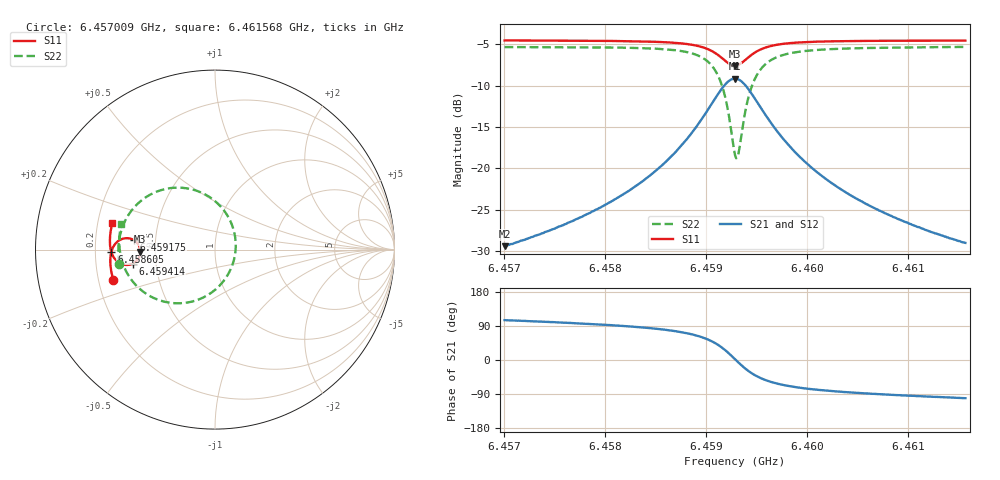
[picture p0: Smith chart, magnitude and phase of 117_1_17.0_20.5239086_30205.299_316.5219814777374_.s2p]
#  HZ  S  RI  R  50.00
! Rohde & Schwarz Vector Network Analyzer
! Rohde-Schwarz,ZNB20-2Port,1311601062101988,3.16
! Created: UTC 3/20/2024, 10:57:16 PM
! freq[Hz]  re:S11  im:S11  re:S21  im:S21  re:S12  im:S12  re:S22  im:S22
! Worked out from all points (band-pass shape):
!   401 points, 6.457009 GHz to 6.461568 GHz, reference 50 ohm
!   highest |S21| = -9.16 dB at 6.459289 GHz (marker M1); lowest = -29.4 dB at 6.457009 GHz (marker M2)
!   |S21| within 3 dB of the highest: 6.45906 GHz to 6.459516 GHz (455.8 kHz wide, 0.00706 % of centre)
!   lowest |S11| = -7.6 dB at 6.459289 GHz (marker M3), VSWR 2.42, Z = 20.6 - j0.55 ohm
!   |S11| at or under -10 dB: nowhere
!   |S22| runs from -18.8 to -5.3 dB; largest |S21 - S12| = 0.014
!   S11 on the Smith chart (normalised r, x): 6.457009 GHz: 0.26, -0.14; 6.458605 GHz: 0.27, -0.01; 6.459175 GHz: 0.38, +0.05; 6.459414 GHz: 0.37, -0.07; 6.461568 GHz: 0.26, +0.12
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6.457009e9  -0.5667 -0.1711  -0.00887 0.0328  -0.00702 0.0327  -0.5338 -0.0814
6.4577727e9  -0.5806 -0.1041  -0.00554 0.0507  -0.0029 0.0502  -0.5384 0.00832
6.4581945e9  -0.5833 -0.0617  0.000439 0.0704  0.00374 0.069  -0.5299 0.0755
6.4585364e9  -0.5796 -0.0205  0.0146 0.0995  0.0186 0.0967  -0.5039 0.1533
6.4586048e9  -0.5773 -0.0109  0.0199 0.108  0.0241 0.1047  -0.4939 0.1734
6.4587986e9  -0.5645 0.0195  0.0466 0.1392  0.0509 0.1342  -0.4437 0.2426
6.4589467e9  -0.5417 0.0459  0.0926 0.1699  0.0956 0.1632  -0.3594 0.3071
6.4590835e9  -0.4972 0.0635  0.1804 0.1862  0.1814 0.179  -0.1988 0.3451
6.4591747e9  -0.4521 0.053  0.2712 0.1546  0.2715 0.1488  -0.0311 0.2935
6.4592431e9  -0.4227 0.0205  0.3321 0.0817  0.3342 0.0764  0.0842 0.1621
6.4592887e9  -0.4158 -0.011  0.3481 0.0131  0.352 0.00619  0.1156 0.0339
6.4593001e9  -0.4164 -0.0193  0.3479 -0.00493  0.3519 -0.0125  0.1151 -7.38e-06
6.4593229e9  -0.4199 -0.035  0.342 -0.0398  0.346 -0.0488  0.1033 -0.0661
6.4593685e9  -0.4357 -0.0614  0.313 -0.0999  0.3153 -0.112  0.0445 -0.1795
6.4594141e9  -0.4581 -0.0779  0.2704 -0.1412  0.2697 -0.1545  -0.0418 -0.254
6.4595053e9  -0.5019 -0.0848  0.1849 -0.1721  0.1788 -0.1836  -0.2115 -0.299
6.4596534e9  -0.546 -0.0644  0.0966 -0.1578  0.0881 -0.1641  -0.3796 -0.2486
6.459813e9  -0.5679 -0.0368  0.0516 -0.1296  0.0439 -0.1324  -0.4599 -0.176
6.4600524e9  -0.5807 -0.00119  0.0225 -0.0978  0.0167 -0.0985  -0.5075 -0.0933
6.4604057e9  -0.5856 0.041  0.006 -0.0703  0.00197 -0.0697  -0.5294 -0.012
6.4608161e9  -0.5837 0.0822  -0.00133 -0.0522  -0.00427 -0.0514  -0.5332 0.0539
6.4615684e9  -0.5719 0.1491  -0.00666 -0.0349  -0.00824 -0.0338  -0.5219 0.1432
